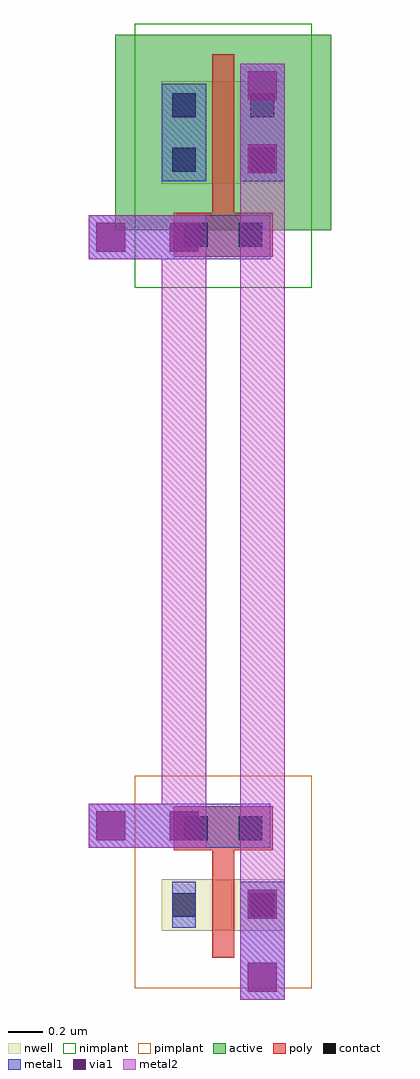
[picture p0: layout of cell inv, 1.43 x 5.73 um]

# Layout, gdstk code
import gdstk
lib = gdstk.Library(unit=1e-6, precision=1e-09)
def R(c, l, rs):  # rectangles x0, y0, x1, y1
    for r in rs: c.add(gdstk.rectangle(r[:2], r[2:], *l))
active = (1, 0)
nwell = (2, 0)
poly = (3, 0)
nimplant = (4, 0)
pimplant = (5, 0)
contact = (6, 0)
metal1 = (7, 0)
via1 = (8, 0)
metal2 = (9, 0)

mn15__185052204 = lib.new_cell('mn15$$185052204')
R(mn15__185052204, nwell, [(-0.295,0,0,0.3), (0,0,0.13,0.3), (0.13,0,0.425,0.3)])
R(mn15__185052204, poly, [(0,-0.16,0.13,-0.06), (0,-0.06,0.13,0), (0,0,0.13,0.3), (0,0.3,0.13,0.36), (0,0.36,0.13,0.46)])
R(mn15__185052204, pimplant, [(-0.36,-0.34,0.49,0.64), (-0.455,-0.16,0.585,0.46)])
R(mn15__185052204, contact, [(-0.235,0.08,-0.095,0.22), (0.225,0.08,0.365,0.22)])
R(mn15__185052204, metal1, [(-0.235,0.015,-0.095,0.285), (0.225,0.015,0.365,0.285)])

m1_m2__185050156 = lib.new_cell('M1_M2$$185050156')
R(m1_m2__185050156, metal1, [(-0.345,-0.13,0.345,0.13)])
R(m1_m2__185050156, via1, [(-0.3,-0.085,-0.13,0.085), (0.13,-0.085,0.3,0.085)])
R(m1_m2__185050156, metal2, [(-0.345,-0.13,0.345,0.13)])

m1_m2__185049132 = lib.new_cell('M1_M2$$185049132')
R(m1_m2__185049132, metal1, [(-0.13,-0.345,0.13,0.345)])
R(m1_m2__185049132, via1, [(-0.085,-0.3,0.085,-0.13), (-0.085,0.13,0.085,0.3)])
R(m1_m2__185049132, metal2, [(-0.13,-0.345,0.13,0.345)])

poly_m1__185047084 = lib.new_cell('POLY_M1$$185047084')
R(poly_m1__185047084, poly, [(-0.29,-0.13,0.29,0.13)])
R(poly_m1__185047084, contact, [(-0.23,-0.07,-0.09,0.07), (0.09,-0.07,0.23,0.07)])
R(poly_m1__185047084, metal1, [(-0.275,-0.115,0.275,0.115)])

mp15__185045036 = lib.new_cell('mp15$$185045036')
R(mp15__185045036, active, [(-0.57,-0.275,0.7,0.875)])
R(mp15__185045036, nwell, [(-0.295,0,0,0.6), (0,0,0.13,0.6), (0.13,0,0.425,0.6)])
R(mp15__185045036, poly, [(0,-0.16,0.13,-0.06), (0,-0.06,0.13,0), (0,0,0.13,0.6), (0,0.6,0.13,0.66), (0,0.66,0.13,0.76)])
R(mp15__185045036, nimplant, [(-0.36,-0.34,0.49,0.94), (-0.455,-0.16,0.585,0.76)])
R(mp15__185045036, contact, [(-0.235,0.07,-0.095,0.21), (0.225,0.07,0.365,0.21), (-0.235,0.39,-0.095,0.53), (0.225,0.39,0.365,0.53)])
R(mp15__185045036, metal1, [(-0.235,0.015,-0.095,0.585), (0.225,0.015,0.365,0.585)])

inv = lib.new_cell('inv')
R(inv, poly, [(0.455,0.748,0.585,0.894), (0.455,4.484,0.585,4.63)])
R(inv, nimplant, [(0,4.116,1.04,5.666)])
R(inv, pimplant, [(0,0.001,1.04,1.251)])
R(inv, metal1, [(0.393,0.826,0.795,1.086), (0.347,4.281,0.795,4.541)])
inv.add(gdstk.FlexPath([(0.29,4.541),(0.29,0.826)], 0.26, ends="flush", simple_path=True, layer=9, datatype=0))  # metal2
inv.add(gdstk.FlexPath([(0.75,5.304),(0.75,0.297)], 0.26, ends="flush", simple_path=True, layer=9, datatype=0))  # metal2
inv.add(gdstk.FlexPath([(0.75,4.741),(0.75,5.311)], 0.26, ends="flush", simple_path=True, layer=7, datatype=0))  # metal1
inv.add(gdstk.FlexPath([(0.29,4.741),(0.29,5.311)], 0.26, ends="flush", simple_path=True, layer=7, datatype=0))  # metal1
inv.add(gdstk.Reference(mn15__185052204, (0.455,0.341)))
inv.add(gdstk.Reference(m1_m2__185050156, (0.075,0.956)))
inv.add(gdstk.Reference(m1_m2__185050156, (0.075,4.411)))
inv.add(gdstk.Reference(m1_m2__185049132, (0.75,0.281)))
inv.add(gdstk.Reference(m1_m2__185049132, (0.75,5.086)))
inv.add(gdstk.Reference(poly_m1__185047084, (0.52,4.426)))
inv.add(gdstk.Reference(poly_m1__185047084, (0.52,0.941)))
inv.add(gdstk.Reference(mp15__185045036, (0.455,4.726)))

lib.write_gds('inv.gds')
